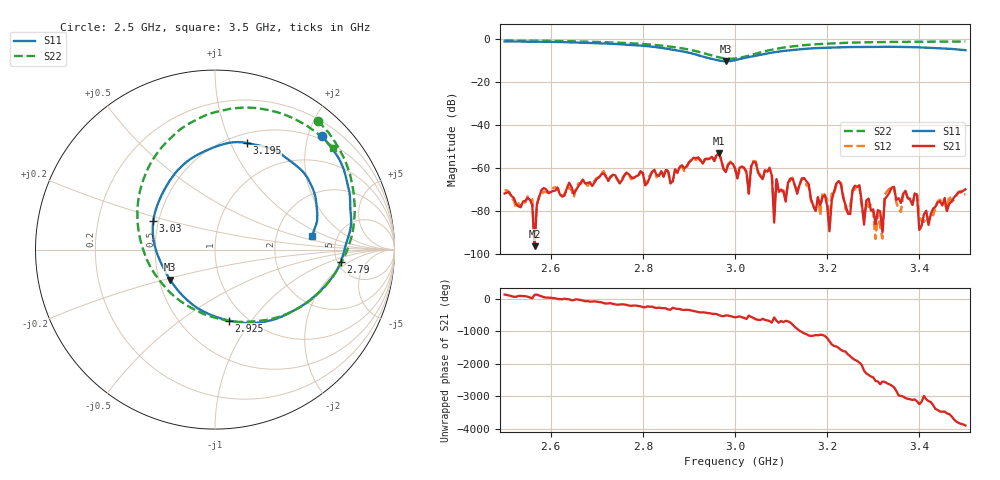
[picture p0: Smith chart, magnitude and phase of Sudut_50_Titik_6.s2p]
# Hz S RI R 50
! CMT, C1220, 16058040, 17.2.0/1
! Date: 15/08/2018 10:15:40
! Data: Format (Calibration Info)
! Freq  S11: Re/Im (F2)  S21: Re/Im (F2)  S12: Re/Im (F2)  S22: Re/Im (F2)
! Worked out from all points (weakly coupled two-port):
!   201 points, 2.5 GHz to 3.5 GHz, reference 50 ohm
!   highest |S21| = -52.99 dB at 2.965 GHz (marker M1); lowest = -96.3 dB at 2.565 GHz (marker M2)
!   lowest |S11| = -10.4 dB at 2.98 GHz (marker M3), VSWR 1.86, Z = 28.6 - j10.5 ohm
!   |S11| at or under -10 dB: 2.963 GHz to 2.998 GHz (34.7 MHz wide, 1.16 % of centre)
!   |S22| runs from -9.2 to -0.7 dB; largest |S21 - S12| = 0.00017
!   S11 on the Smith chart (normalised r, x): 2.5 GHz: 0.43, +2.24; 2.79 GHz: 5.37, -1.43; 2.925 GHz: 0.83, -0.78; 3.03 GHz: 0.47, +0.17; 3.195 GHz: 0.60, +1.15; 3.5 GHz: 3.23, +0.71
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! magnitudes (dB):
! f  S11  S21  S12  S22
! 2.5 GHz  -1.2  -71.8  -70.5  -0.7
! 2.565 GHz  -1.3  -96.3  -95.8  -0.9
! 2.67 GHz  -1.8  -65.3  -65.7  -1.2
! 2.79 GHz  -3.0  -63.4  -63.9  -2.2
! 2.835 GHz  -4.0  -63.6  -63.4  -3.0
! 2.925 GHz  -7.9  -56.3  -56.7  -6.2
! 2.965 GHz  -10.1  -53.0  -52.5  -8.6
! 2.98 GHz  -10.4  -61.9  -61.3  -9.1
! 3 GHz  -9.9  -60.0  -60.3  -9.2
! 3.03 GHz  -8.4  -71.8  -72.0  -7.8
! 3.045 GHz  -7.8  -57.6  -56.9  -6.9
! 3.075 GHz  -6.6  -60.2  -59.8  -5.3
! 3.085 GHz  -6.2  -85.3  -80.7  -4.8
! 3.09 GHz  -6.1  -65.1  -64.7  -4.6
! 3.11 GHz  -5.5  -75.6  -73.5  -3.9
! 3.15 GHz  -4.7  -64.7  -64.7  -2.9
! 3.17 GHz  -4.4  -77.5  -78.0  -2.6
! 3.195 GHz  -4.2  -72.6  -72.6  -2.3
! 3.32 GHz  -3.7  -89.8  -92.7  -1.5
! 3.335 GHz  -3.7  -71.5  -69.5  -1.4
! 3.36 GHz  -3.7  -76.2  -80.4  -1.4
! 3.5 GHz  -5.3  -69.9  -72.2  -1.3
